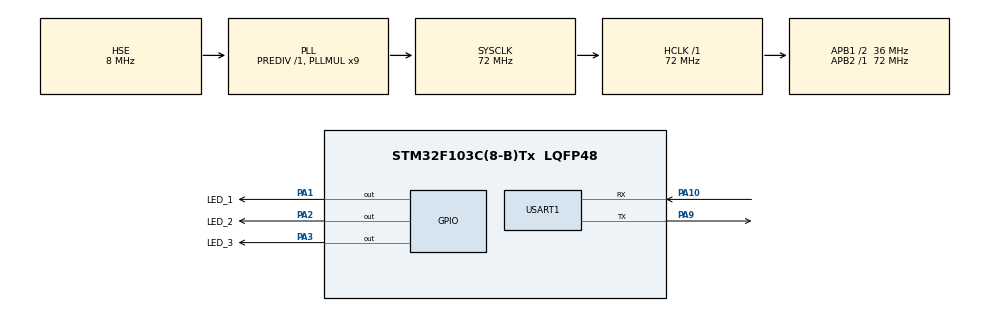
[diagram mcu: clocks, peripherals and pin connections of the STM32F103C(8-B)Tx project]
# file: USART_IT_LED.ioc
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Mcu.Family=STM32F1
Mcu.Name=STM32F103C(8-B)Tx
Mcu.Package=LQFP48
NVIC.PriorityGroup=NVIC_PRIORITYGROUP_4
NVIC.USART1_IRQn=true\:0\:0\:false\:false\:true\:true\:true\:true
PA1.GPIO_Label=LED_1
PA1.GPIO_PuPd=GPIO_PULLDOWN
PA1.Signal=GPIO_Output
PA10.Mode=Asynchronous
PA10.Signal=USART1_RX
PA13.Mode=Serial_Wire
PA13.Signal=SYS_JTMS-SWDIO
PA14.Mode=Serial_Wire
PA14.Signal=SYS_JTCK-SWCLK
PA2.GPIO_Label=LED_2
PA2.GPIO_PuPd=GPIO_PULLDOWN
PA2.Signal=GPIO_Output
PA3.GPIO_Label=LED_3
PA3.GPIO_PuPd=GPIO_PULLDOWN
PA3.Signal=GPIO_Output
PA9.Mode=Asynchronous
PA9.Signal=USART1_TX
PC14-OSC32_IN.Mode=LSE-External-Oscillator
PC14-OSC32_IN.Signal=RCC_OSC32_IN
PC15-OSC32_OUT.Mode=LSE-External-Oscillator
PC15-OSC32_OUT.Signal=RCC_OSC32_OUT
PD0-OSC_IN.Mode=HSE-External-Oscillator
PD0-OSC_IN.Signal=RCC_OSC_IN
PD1-OSC_OUT.Mode=HSE-External-Oscillator
PD1-OSC_OUT.Signal=RCC_OSC_OUT
ProjectManager.HeapSize=0x200
ProjectManager.StackSize=0x400
ProjectManager.TargetToolchain=MDK-ARM V5.32
RCC.AHBFreq_Value=72000000
RCC.APB1CLKDivider=RCC_HCLK_DIV2
RCC.APB1Freq_Value=36000000
RCC.APB1TimFreq_Value=72000000
RCC.APB2Freq_Value=72000000
RCC.APB2TimFreq_Value=72000000
RCC.HCLKFreq_Value=72000000
RCC.PLLMUL=RCC_PLL_MUL9
RCC.PLLSourceVirtual=RCC_PLLSOURCE_HSE
RCC.SYSCLKFreq_VALUE=72000000
RCC.SYSCLKSource=RCC_SYSCLKSOURCE_PLLCLK
RCC.USBFreq_Value=72000000
USART1.VirtualMode=VM_ASYNC
board=custom

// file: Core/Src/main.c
/* USER CODE BEGIN Header */
/**
  ******************************************************************************
  * @file           : main.c
  * @brief          : Main program body
  ******************************************************************************
  * @attention
  *
  * Copyright (c) 2026 STMicroelectronics.
  * All rights reserved.
  *
  * This software is licensed under terms that can be found in the LICENSE file
  * in the root directory of this software component.
  * If no LICENSE file comes with this software, it is provided AS-IS.
  *
  ******************************************************************************
  */
/* USER CODE END Header */
#include "main.h"
#include "usart.h"
#include "gpio.h"

/* USER CODE BEGIN Includes */
#include <stdio.h>
#include <string.h>
/* USER CODE END Includes */

void SystemClock_Config(void);

/* USER CODE BEGIN 0 */
uint8_t Cmd_State=0;
uint8_t Rx_Byte;
/* USER CODE END 0 */

int main(void)
{

  /* MCU Configuration--------------------------------------------------------*/

  /* Reset of all peripherals, Initializes the Flash interface and the Systick. */
  HAL_Init();

  /* Configure the system clock */
  SystemClock_Config();

  /* Initialize all configured peripherals */
  MX_GPIO_Init();
  MX_USART1_UART_Init();

  /* Infinite loop */
  /* USER CODE BEGIN WHILE */
  HAL_UART_Receive_IT(&huart1,&Rx_Byte,1);
  while (1)
  {
    /* USER CODE END WHILE */

  }
}

void SystemClock_Config(void)
{
  RCC_OscInitTypeDef RCC_OscInitStruct = {0};
  RCC_ClkInitTypeDef RCC_ClkInitStruct = {0};

  /** Initializes the RCC Oscillators according to the specified parameters
  * in the RCC_OscInitTypeDef structure.
  */
  RCC_OscInitStruct.OscillatorType = RCC_OSCILLATORTYPE_HSE;
  RCC_OscInitStruct.HSEState = RCC_HSE_ON;
  RCC_OscInitStruct.HSEPredivValue = RCC_HSE_PREDIV_DIV1;
  RCC_OscInitStruct.HSIState = RCC_HSI_ON;
  RCC_OscInitStruct.PLL.PLLState = RCC_PLL_ON;
  RCC_OscInitStruct.PLL.PLLSource = RCC_PLLSOURCE_HSE;
  RCC_OscInitStruct.PLL.PLLMUL = RCC_PLL_MUL9;
  if (HAL_RCC_OscConfig(&RCC_OscInitStruct) != HAL_OK)
  {
    Error_Handler();
  }

  /** Initializes the CPU, AHB and APB buses clocks
  */
  RCC_ClkInitStruct.ClockType = RCC_CLOCKTYPE_HCLK|RCC_CLOCKTYPE_SYSCLK
                              |RCC_CLOCKTYPE_PCLK1|RCC_CLOCKTYPE_PCLK2;
  RCC_ClkInitStruct.SYSCLKSource = RCC_SYSCLKSOURCE_PLLCLK;
  RCC_ClkInitStruct.AHBCLKDivider = RCC_SYSCLK_DIV1;
  RCC_ClkInitStruct.APB1CLKDivider = RCC_HCLK_DIV2;
  RCC_ClkInitStruct.APB2CLKDivider = RCC_HCLK_DIV1;

  if (HAL_RCC_ClockConfig(&RCC_ClkInitStruct, FLASH_LATENCY_2) != HAL_OK)
  {
    Error_Handler();
  }
}

/* USER CODE BEGIN 4 */
void HAL_UART_RxCpltCallback(UART_HandleTypeDef *huart)
{
	if(Cmd_State==0 && Rx_Byte=='O') Cmd_State=1;
	else if(Cmd_State==1){
		if(Rx_Byte=='N'){
			HAL_GPIO_WritePin(GPIOA,LED_1_Pin|LED_2_Pin|LED_3_Pin,GPIO_PIN_RESET);
			Cmd_State=0;
		}
		if(Rx_Byte=='F') Cmd_State=2;
	}
	else if(Rx_Byte=='F'&&Cmd_State==2){
		HAL_GPIO_WritePin(GPIOA,LED_1_Pin|LED_2_Pin|LED_3_Pin,GPIO_PIN_SET);
		Cmd_State=0;
	}
	HAL_UART_Receive_IT(&huart1,&Rx_Byte,1);
}
int fputc(int c,FILE *f){
	HAL_UART_Transmit(&huart1,(uint8_t *)&c,1,HAL_MAX_DELAY);
	return c;
}
/* USER CODE END 4 */

void Error_Handler(void)
{
  __disable_irq();
  while (1)
  {
  }
}
